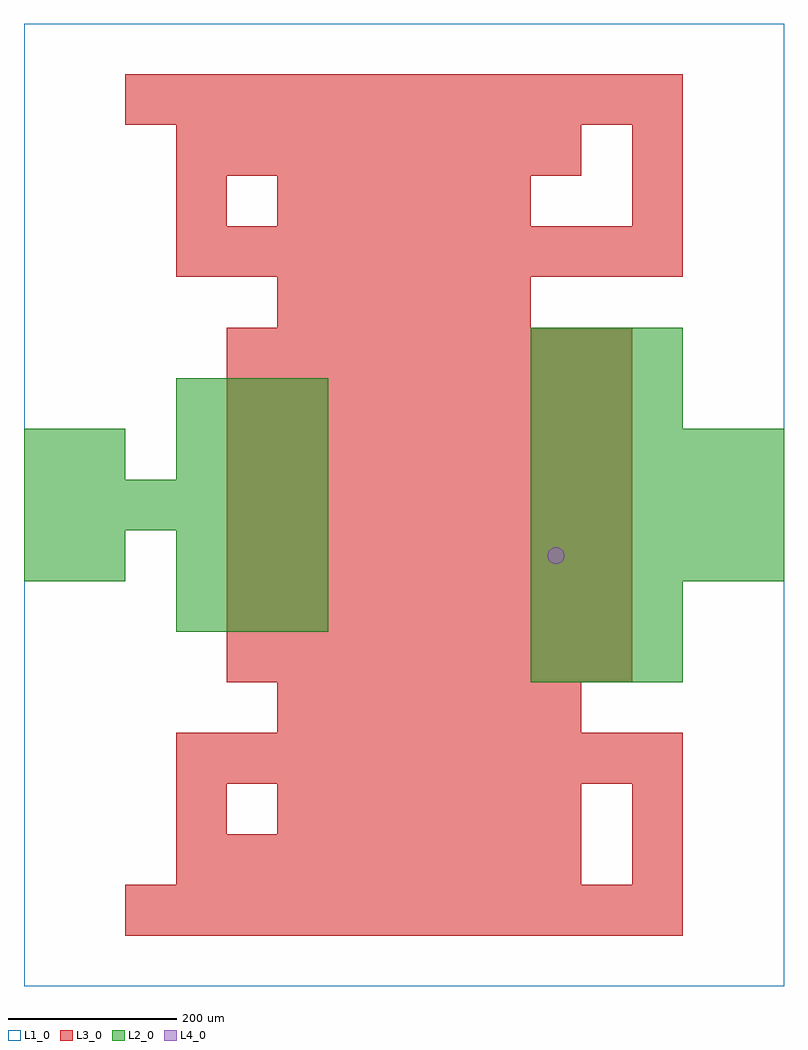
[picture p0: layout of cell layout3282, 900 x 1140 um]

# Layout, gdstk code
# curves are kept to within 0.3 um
import gdstk
lib = gdstk.Library(unit=1e-6, precision=1e-09)
def R(c, l, rs):  # rectangles x0, y0, x1, y1
    for r in rs: c.add(gdstk.rectangle(r[:2], r[2:], *l))
def A(c, l, x, y, w, h, nx, ny, dx, dy):  # array of equal rectangles
    R(c, l, [(x+i*dx, y+j*dy, x+i*dx+w, y+j*dy+h) for i in range(nx) for j in range(ny)])
def P(c, l, *ps):  # polygons
    for p in ps: c.add(gdstk.Polygon(p, *l))
L1_0 = (1, 0)
L2_0 = (2, 0)
L3_0 = (3, 0)
L4_0 = (4, 0)

layout3282 = lib.new_cell('layout3282')
R(layout3282, L1_0, [(0,0,900,1140)])
A(layout3282, L2_0, 600, 360, 60, 60, 3, 2, 60, 60)
A(layout3282, L2_0, 180, 420, 60, 60, 3, 2, 60, 60)
A(layout3282, L2_0, 600, 480, 60, 60, 5, 3, 60, 60)
A(layout3282, L2_0, 0, 540, 60, 60, 6, 1, 60, 0)
A(layout3282, L2_0, 180, 600, 60, 60, 3, 2, 60, 60)
A(layout3282, L2_0, 600, 660, 60, 60, 3, 2, 60, 60)
R(layout3282, L2_0, [(0,480,60,540), (60,480,120,540), (0,600,60,660), (60,600,120,660)])
A(layout3282, L3_0, 120, 60, 60, 60, 11, 2, 60, 960)
A(layout3282, L3_0, 180, 120, 60, 60, 8, 2, 60, 840)
A(layout3282, L3_0, 300, 180, 60, 60, 6, 2, 60, 120)
A(layout3282, L3_0, 180, 240, 60, 60, 10, 2, 60, 600)
A(layout3282, L3_0, 240, 360, 60, 60, 8, 7, 60, 60)
A(layout3282, L3_0, 300, 780, 60, 60, 5, 2, 60, 120)
R(layout3282, L3_0, [(720,120,780,180), (180,180,240,240), (720,180,780,240), (180,900,240,960), (720,900,780,960), (720,960,780,1020)])
P(layout3282, L4_0, [(640,510),(639.239,513.827),(637.071,517.071),(633.827,519.239),(630,520),(626.173,519.239),(622.929,517.071),(620.761,513.827),(620,510),(620.761,506.173),(622.929,502.929),(626.173,500.761),(630,500),(633.827,500.761),(637.071,502.929),(639.239,506.173)])

lib.write_gds('layout3282.gds')
